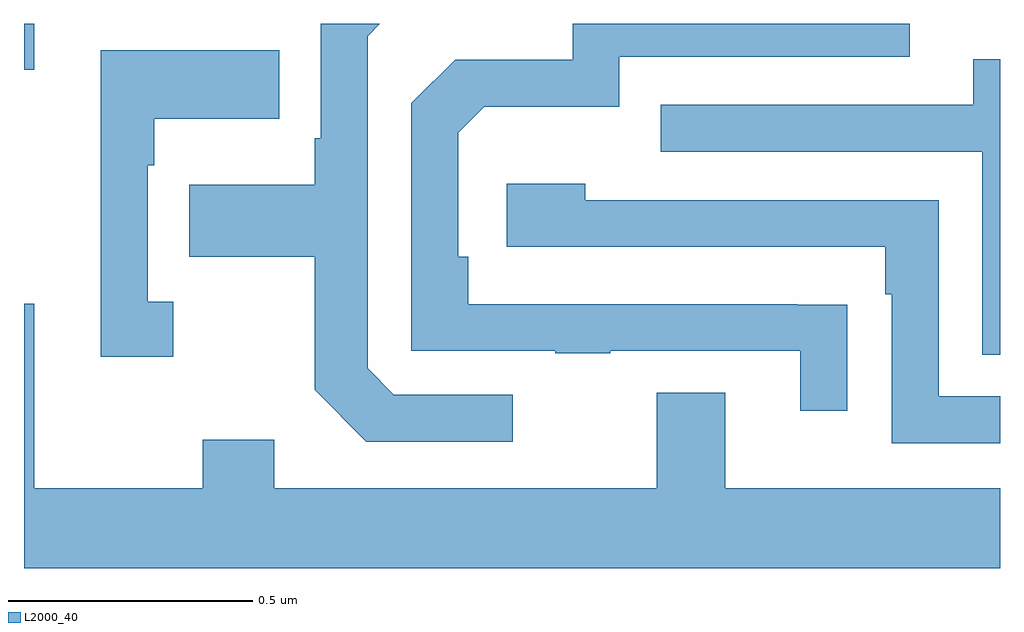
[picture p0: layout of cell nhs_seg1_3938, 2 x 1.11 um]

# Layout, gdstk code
import gdstk
lib = gdstk.Library(unit=1e-6, precision=1e-09)
def R(c, l, rs):  # rectangles x0, y0, x1, y1
    for r in rs: c.add(gdstk.rectangle(r[:2], r[2:], *l))
def P(c, l, *ps):  # polygons
    for p in ps: c.add(gdstk.Polygon(p, *l))
L2000_40 = (2000, 40)

nhs_seg1_3938 = lib.new_cell('nhs_seg1_3938')
R(nhs_seg1_3938, L2000_40, [(160,534.105,160.021,534.199)])
P(nhs_seg1_3938, L2000_40, [(161.002,533.439),(160.758,533.439),(160.704,533.493),(160.704,534.174),(160.729,534.199),(160.608,534.199),(160.608,533.965),(160.596,533.965),(160.596,533.869),(160.339,533.869),(160.339,533.722),(160.596,533.722),(160.596,533.449),(160.701,533.343),(161.002,533.343)],
  [(161.687,533.624),(161.585,533.624),(161.585,533.625),(160.91,533.625),(160.91,533.722),(160.89,533.722),(160.89,533.976),(160.943,534.029),(161.22,534.029),(161.22,534.132),(161.815,534.132),(161.815,534.199),(161.124,534.199),(161.124,534.126),(160.884,534.126),(160.794,534.036),(160.794,533.529),(161.089,533.529),(161.089,533.524),(161.201,533.524),(161.201,533.529),(161.591,533.529),(161.591,533.406),(161.687,533.406)],
  [(160.306,533.63),(160.254,533.63),(160.254,533.909),(160.267,533.909),(160.267,534.005),(160.523,534.005),(160.523,534.145),(160.157,534.145),(160.157,533.517),(160.306,533.517)],
  [(162,534.127),(161.945,534.127),(161.945,534.033),(161.305,534.033),(161.305,533.937),(161.964,533.937),(161.964,533.521),(162,533.521)],
  [(162,533.436),(161.874,533.436),(161.874,533.838),(161.15,533.838),(161.15,533.872),(160.989,533.872),(160.989,533.742),(161.765,533.742),(161.765,533.645),(161.778,533.645),(161.778,533.34),(162,533.34)],
  [(161.297,533.443),(161.297,533.248),(160.513,533.248),(160.513,533.347),(160.366,533.347),(160.366,533.248),(160.021,533.248),(160.021,533.626),(160,533.626),(160,533.084),(162,533.084),(162,533.248),(161.437,533.248),(161.437,533.443)])

lib.write_gds('nhs_seg1_3938.gds')
